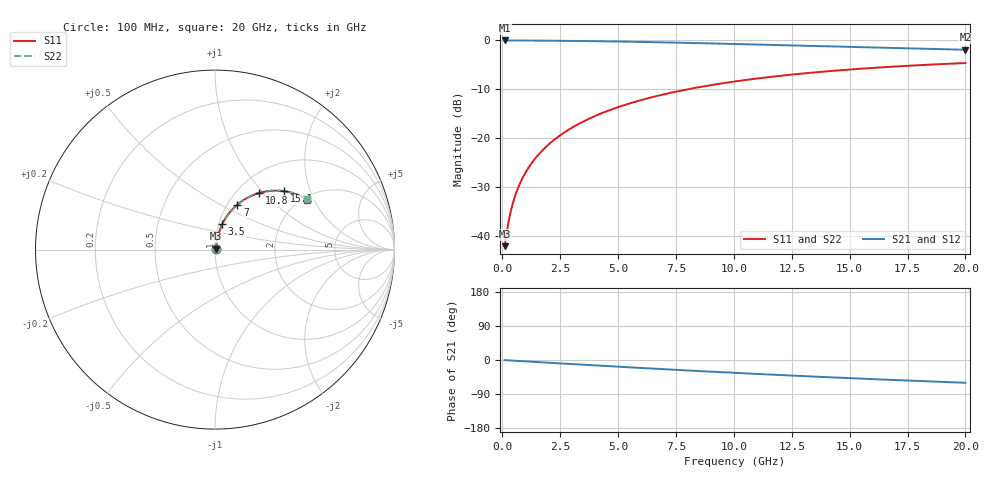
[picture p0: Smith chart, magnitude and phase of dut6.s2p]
! Touchstone file exported from HFSS 2026.1.0
!  File:  C:/ffzhzh/LocalFiles/Ansys_Project_Files/temp_test_TMRDL_6_1782906893_42304.aedt
!  Generated:  07:56:28 PM Jul  1, 2026
!  Design:  TMRDL
!  Project:  temp_test_TMRDL_6_1782906893_42304
! Variables:
!  h_bsmrdl = 2um
!  h_ox = 20um
!  h_rdl = 5um
!  h_sub = 80um
!  h_tmrdl = 2.69um
!  h_tsv = 80um
!  h_via = 3um
!  l_bsmrdl = 300um
!  l_sub = 1284.98um
!  l_tmrdl = 884.98um
!  m_sub = 200um
!  pitch = 57.01um
!  r_tsv = 6um
!  s_tmrdl = 10um
!  w_bsmrdl = 18um
!  w_sub = 500um
!  w_tmrdl = 18.63um
!  x_tsv_center1 = 894.295um
!  x_tsv_center2 = 1212.295um
!  x_tsv_center3 = 2115.905um
!  x_tsv_center4 = 2433.905um
!  x_tsv_center5 = 3337.515um
!  x_tsv_center6 = 3655.515um
# GHz S MA R 50.000000
! Terminal data exported
! Port[1] = TM_RDL1_1_T1
! Port[2] = TM_RDL1_1_T2
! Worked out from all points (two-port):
!   200 points, 100 MHz to 20 GHz, reference 50 ohm
!   highest |S21| = -0.06 dB at 100 MHz (marker M1); lowest = -2.0 dB at 20 GHz (marker M2)
!   |S21| within 3 dB of the highest: start of sweep to end of sweep
!   lowest |S11| = -42.1 dB at 100 MHz (marker M3), VSWR 1.02, Z = 50.6 + j0.459 ohm
!   |S11| at or under -10 dB: start of sweep to 8.054 GHz
!   |S22| runs from -42.1 to -4.7 dB; largest |S21 - S12| = 5.3e-15
!   S11 on the Smith chart (normalised r, x): 100 MHz: 1.01, +0.01; 3.5 GHz: 1.04, +0.30; 7 GHz: 1.11, +0.61; 10.8 GHz: 1.26, +0.94; 15.1 GHz: 1.54, +1.34; 20 GHz: 2.10, +1.77
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0.1  0.007831 35.3  0.9936 -0.4  0.9936 -0.4  0.007831 35.3
! Gamma 0 0 0 0
! Port Impedance 50 0 50 0
0.2  0.01118 53.7  0.9935 -0.8  0.9935 -0.8  0.01118 53.7
0.3  0.01511 62.7  0.9932 -1.1  0.9932 -1.1  0.01511 62.7
0.4  0.01921 67.5  0.993 -1.5  0.993 -1.5  0.01921 67.6
0.5  0.02335 70.5  0.9927 -1.8  0.9927 -1.8  0.02335 70.6
0.6  0.02751 72.5  0.9924 -2.2  0.9924 -2.2  0.02751 72.6
0.8  0.03582 75.0  0.9919 -2.9  0.9919 -2.9  0.03582 75.0
1.1  0.0483 76.7  0.9911 -4.0  0.9911 -4.0  0.0483 76.8
1.6  0.06916 77.5  0.9896 -5.8  0.9896 -5.8  0.06915 77.5
2.1  0.08998 77.2  0.9877 -7.6  0.9877 -7.6  0.08998 77.2
2.7  0.1148 76.1  0.985 -9.7  0.985 -9.7  0.1148 76.1
3.5  0.1475 74.1  0.9803 -12.5  0.9803 -12.5  0.1474 74.1
5  0.2067 69.7  0.969 -17.7  0.969 -17.7  0.2066 69.7
6.8  0.2732 64.1  0.9517 -23.7  0.9517 -23.7  0.2732 64.2
7  0.2803 63.5  0.9495 -24.4  0.9495 -24.4  0.2803 63.5
8.5  0.3308 58.9  0.9326 -29.2  0.9326 -29.2  0.3308 58.9
10.1  0.3801 54.1  0.9131 -34.1  0.9131 -34.1  0.38 54.2
10.8  0.4 52.0  0.9044 -36.2  0.9044 -36.2  0.4 52.1
13.4  0.4663 44.8  0.8717 -43.6  0.8717 -43.6  0.4662 44.9
15.1  0.503 40.3  0.851 -48.2  0.851 -48.2  0.503 40.4
16.7  0.5333 36.3  0.8325 -52.2  0.8325 -52.2  0.5332 36.4
20  0.5839 28.5  0.7983 -60.2  0.7983 -60.2  0.5838 28.7
